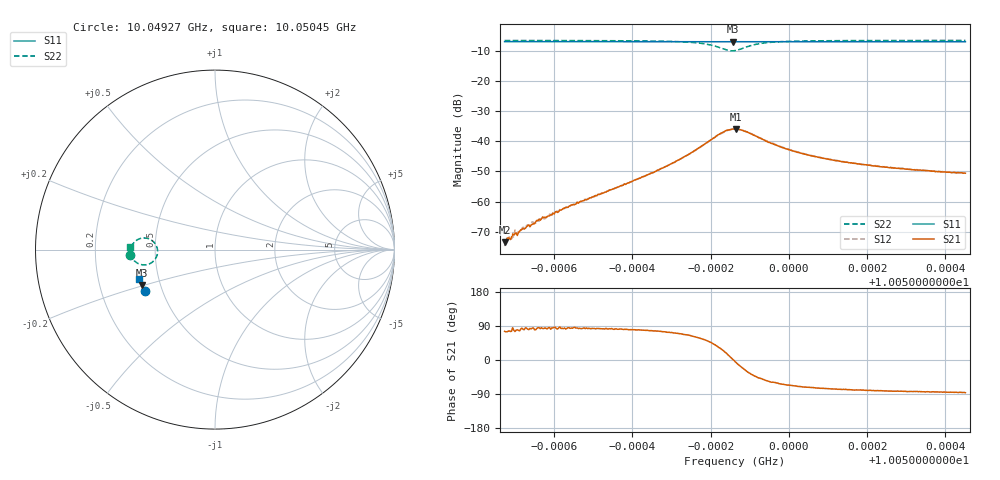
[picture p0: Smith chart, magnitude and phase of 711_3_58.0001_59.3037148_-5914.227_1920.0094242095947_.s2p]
#  HZ  S  RI  R  50.00
! Rohde & Schwarz Vector Network Analyzer
! Rohde-Schwarz,ZNB20-2Port,1311601062101988,3.16
! Created: UTC 3/21/2024, 1:22:11 AM
! freq[Hz]  re:S11  im:S11  re:S21  im:S21  re:S12  im:S12  re:S22  im:S22
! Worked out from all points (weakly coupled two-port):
!   401 points, 10.04927 GHz to 10.05045 GHz, reference 50 ohm
!   highest |S21| = -35.87 dB at 10.04987 GHz (marker M1); lowest = -73.4 dB at 10.04927 GHz (marker M2)
!   lowest |S11| = -6.9 dB at 10.04986 GHz (marker M3), VSWR 2.65, Z = 19.7 - j9.8 ohm
!   |S11| at or under -10 dB: nowhere
!   |S22| runs from -9.9 to -6.5 dB; largest |S21 - S12| = 0.0013
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1.0049273e10  -0.3905 -0.2322  5.36e-05 0.000207  2.46e-05 0.00018  -0.4737 -0.0301
1.0049282e10  -0.3908 -0.2317  6.12e-05 0.000242  6.4e-05 0.000226  -0.4738 -0.0294
1.0049291e10  -0.391 -0.2312  6.23e-05 0.00025  2.13e-05 0.000236  -0.4737 -0.0286
1.0049326e10  -0.3921 -0.2291  3.19e-05 0.000358  3.52e-05 0.000365  -0.4737 -0.0253
1.0049344e10  -0.3927 -0.2281  4.22e-05 0.000416  2.89e-05 0.000461  -0.4737 -0.0235
1.0049367e10  -0.3935 -0.2268  4.25e-05 0.000513  3.47e-05 0.000532  -0.4736 -0.0212
1.0049417e10  -0.3949 -0.2236  8.63e-05 0.000717  7.31e-05 0.000757  -0.473 -0.0159
1.004947e10  -0.3966 -0.2207  0.000126 0.001  4.24e-05 0.00101  -0.4725 -0.00976
1.0049668e10  -0.4025 -0.2089  0.000815 0.00325  0.000661 0.00334  -0.4622 0.0239
1.0049744e10  -0.4045 -0.2039  0.00254 0.00559  0.00222 0.0057  -0.4419 0.0485
1.0049806e10  -0.4056 -0.2  0.00823 0.00766  0.00765 0.00809  -0.3852 0.0643
1.0049836e10  -0.4057 -0.1984  0.0136 0.00536  0.0131 0.00634  -0.3369 0.0376
1.0049856e10  -0.406 -0.1976  0.016 0.000471  0.0158 0.00164  -0.3197 -0.0102
1.0049862e10  -0.4061 -0.1974  0.0159 -0.00111  0.0161 2.59e-05  -0.3212 -0.0256
1.0049865e10  -0.4062 -0.1973  0.016 -0.00193  0.0159 -0.000615  -0.3231 -0.0329
1.0049895e10  -0.4074 -0.1963  0.0121 -0.00748  0.0126 -0.00655  -0.3676 -0.0802
1.0049939e10  -0.4091 -0.1937  0.00622 -0.00833  0.00673 -0.00791  -0.4259 -0.0788
1.0049995e10  -0.411 -0.1904  0.00305 -0.00681  0.00351 -0.00666  -0.4548 -0.0565
1.005006e10  -0.4127 -0.1864  0.00169 -0.00546  0.00202 -0.00543  -0.4663 -0.0372
1.0050142e10  -0.4149 -0.1813  0.000957 -0.00444  0.00123 -0.00442  -0.4716 -0.0207
1.0050257e10  -0.4179 -0.1742  0.000514 -0.00362  0.000747 -0.00364  -0.4741 -0.00457
1.0050451e10  -0.4223 -0.1623  0.000191 -0.00295  0.000415 -0.00293  -0.4749 0.0154
